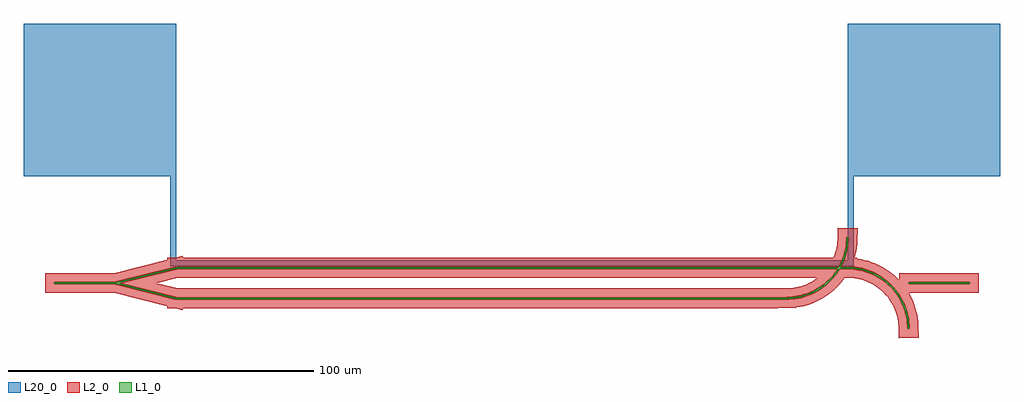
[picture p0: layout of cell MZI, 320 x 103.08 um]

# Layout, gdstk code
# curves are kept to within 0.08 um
import gdstk
lib = gdstk.Library(unit=1e-6, precision=1e-09)
def R(c, l, rs):  # rectangles x0, y0, x1, y1
    for r in rs: c.add(gdstk.rectangle(r[:2], r[2:], *l))
def P(c, l, *ps):  # polygons
    for p in ps: c.add(gdstk.Polygon(p, *l))
L1_0 = (1, 0)
L2_0 = (2, 0)
L20_0 = (20, 0)

mzi = lib.new_cell('MZI')
P(mzi, L2_0, [(40.033,-4.75),(21.033,0),(28.033,1.75),(40.401,1.75),(33.401,0),(40.401,-1.75),(239.956,-1.75),(242.458,-1.567),(245.641,-0.77),(247.903,0.234),(250.237,1.75),(28.033,1.75),(40.033,4.75),(256.878,4.75),(255.267,2.471),(253.965,1.034),(251.764,-0.863),(250.153,-1.939),(248.444,-2.853),(245.732,-3.899),(242.897,-4.536),(240.969,-4.725)],
  [(276.828,-18.077),(276.668,-13.363),(276.246,-10.932),(275.77,-9.358),(275.139,-7.836),(274.369,-6.395),(273.451,-5.02),(272.415,-3.756),(271.246,-2.588),(269.979,-1.549),(267.903,-0.234),(266.41,0.473),(264.867,1.025),(263.267,1.426),(261.636,1.668),(259.099,1.75),(257.228,-0.614),(255.613,-2.23),(252.918,-4.332),(250.958,-5.506),(247.831,-6.891),(245.649,-7.554),(243,-8.049),(243,-8.25),(42.277,-8.25),(42.119,-8.88),(39.599,-8.25),(37,-8.25),(37,-7.6),(19.599,-3.25),(-3,-3.25),(-3,3.25),(19.599,3.25),(37,7.6),(37,8.25),(39.599,8.25),(42.119,8.88),(42.277,8.25),(255.323,8.25),(256.025,10.132),(256.426,11.732),(256.668,13.363),(256.749,15.006),(259.75,15.006),(259.536,12.102),(259.157,10.201),(258.246,7.442),(257.168,5.25),(40,5.25),(40,5),(39.939,5.243),(19.967,0.25),(0,0.25),(0,-0.25),(19.967,-0.25),(39.939,-5.243),(40,-5),(40,-5.25),(240,-5.25),(240,-5),(240.006,-5.25),(241.984,-5.152),(244.92,-4.643),(246.821,-4.065),(248.658,-3.305),(251.25,-1.837),(253.599,-0.005),(255.653,2.153),(257.461,4.75),(260.969,4.725),(262.897,4.536),(264.798,4.157),(266.653,3.595),(268.444,2.853),(270.972,1.421),(272.528,0.267),(273.965,-1.034),(275.267,-2.471),(276.421,-4.027),(277.853,-6.555),(278.595,-8.346),(279.37,-11.147),(279.654,-13.063),(279.75,-15.006),(280.25,-14.994),(280.152,-13.015),(279.643,-10.079),(279.065,-8.178),(278.305,-6.341),(277.369,-4.588),(276.265,-2.937),(275.004,-1.4),(273.314,0.25),(280,0.25),(280,-0.25),(300,-0.25),(300,0.25),(273.314,0.25),(271.25,1.837),(269.545,2.859),(267.749,3.708),(265.878,4.377),(263.95,4.86),(261.984,5.152),(260.006,5.25),(260,5),(260,5.25),(257.744,5.25),(258.708,7.25),(259.643,10.079),(260.152,13.015),(260.25,14.994),(256.749,15.006),(256.828,18.077),(263.321,17.921),(263.138,12.721),(262.803,10.465),(262.249,8.25),(263,8.25),(263,8.049),(266.751,7.248),(269.941,6.018),(271.954,4.943),(273.85,3.675),(275.613,2.23),(277,0.854),(277,3.25),(303,3.25),(303,-3.25),(280.059,-3.25),(281.018,-5.058),(281.891,-7.168),(282.803,-10.465),(283.222,-13.858),(283.325,-17.917)])
R(mzi, L20_0, [(38,5.5,40,35), (40,5.5,260,7.5), (260,5.5,262,35), (-10,35,40,85), (260,35,310,85)])
mzi.add(gdstk.FlexPath([(0,0),(20,0)], 0.5, ends="flush", simple_path=True, layer=1, datatype=0))  # L1_0
mzi.add(gdstk.FlexPath([(20,0),(40,5)], 0.5, ends="flush", simple_path=True, layer=1, datatype=0))  # L1_0
mzi.add(gdstk.FlexPath([(20,0),(40,-5)], 0.5, ends="flush", simple_path=True, layer=1, datatype=0))  # L1_0
mzi.add(gdstk.FlexPath([(40,5),(240,5)], 0.5, ends="flush", simple_path=True, layer=1, datatype=0))  # L1_0
mzi.add(gdstk.FlexPath([(240,5),(260,5)], 0.5, ends="flush", simple_path=True, layer=1, datatype=0))  # L1_0
mzi.add(gdstk.FlexPath([(40,-5),(240,-5)], 0.5, ends="flush", simple_path=True, layer=1, datatype=0))  # L1_0
mzi.add(gdstk.FlexPath([(260,5),(260.981,4.975),(261.96,4.903),(262.934,4.783),(263.901,4.615),(264.859,4.4),(265.805,4.138),(266.737,3.83),(267.653,3.477),(268.551,3.079),(269.427,2.638),(270.282,2.154),(271.111,1.629),(271.913,1.064),(272.687,0.46),(273.431,-0.18),(274.142,-0.857),(274.819,-1.568),(275.46,-2.312),(276.064,-3.086),(276.629,-3.888),(277.154,-4.717),(277.638,-5.572),(278.079,-6.448),(278.477,-7.346),(278.83,-8.262),(279.138,-9.194),(279.4,-10.14),(279.615,-11.098),(279.783,-12.065),(279.903,-13.039),(279.975,-14.018),(280,-15)], 0.5, ends="flush", simple_path=True, layer=1, datatype=0))  # L1_0
mzi.add(gdstk.FlexPath([(240,-5),(240.981,-4.975),(241.96,-4.903),(242.934,-4.783),(243.901,-4.615),(244.859,-4.4),(245.805,-4.138),(246.737,-3.83),(247.653,-3.477),(248.551,-3.079),(249.427,-2.638),(250.282,-2.154),(251.111,-1.629),(251.913,-1.064),(252.687,-0.46),(253.431,0.18),(254.142,0.857),(254.819,1.568),(255.46,2.312),(256.064,3.086),(256.629,3.888),(257.154,4.717),(257.638,5.572),(258.079,6.448),(258.477,7.346),(258.83,8.262),(259.138,9.194),(259.4,10.14),(259.615,11.098),(259.783,12.065),(259.903,13.039),(259.975,14.018),(260,15)], 0.5, ends="flush", simple_path=True, layer=1, datatype=0))  # L1_0
mzi.add(gdstk.FlexPath([(280,0),(300,0)], 0.5, ends="flush", simple_path=True, layer=1, datatype=0))  # L1_0

lib.write_gds('MZI.gds')
